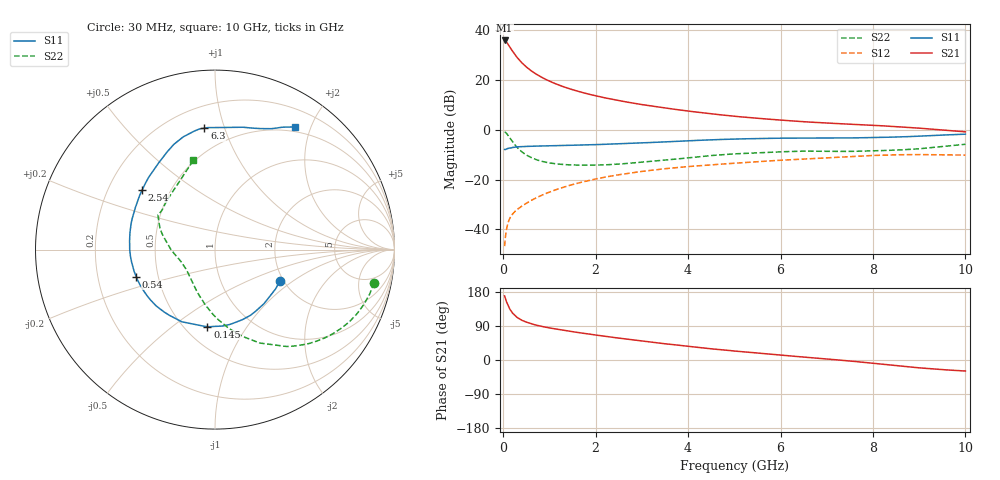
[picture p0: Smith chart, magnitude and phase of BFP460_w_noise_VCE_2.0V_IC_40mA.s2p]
! (c) 2016  Infineon Technologies AG, Munich
! Infineon Technologies  Discrete & RF Semiconductors
! BFP460
! VCE =  2.0 V,  IC =  40 mA
! Common Emitter S-Parameters:  Jan 2016
# GHz  S  MA  R  50
!  f  S11  S21  S12  S22
! GHz  MAG  ANG  MAG  ANG  MAG  ANG  MAG  ANG
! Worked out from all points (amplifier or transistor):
!   229 points, 30 MHz to 10 GHz, reference 50 ohm
!   highest |S21| = 35.9 dB at 30 MHz (marker M1)
!   |S21| within 3 dB of that: start of sweep to 155.7 MHz
!   unconditionally stable (mu >= 1): 1.244 GHz to 7.741 GHz
!   at 280 MHz: K = 0.60, MSG = 31.0 dB, |S12| = -32.4 dB
!   at 1.78 GHz: K = 1.03, MAG = 16.7 dB, |S12| = -20.7 dB
!   at 10 GHz: K = 0.98, MSG = 4.7 dB, |S12| = -10.2 dB
!   lowest NFmin = 1.63 dB at 3.5 GHz
!   S11 on the Smith chart (normalised r, x): 30 MHz: 1.92, -0.79; 145 MHz: 0.64, -0.67; 540 MHz: 0.37, -0.14; 2.54 GHz: 0.35, +0.32; 6.3 GHz: 0.34, +0.86; 10 GHz: 0.43, +1.76
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0.03  0.4017 -25.5  62.14 169.0  0.0046 83.7  0.9053 -11.8
0.05  0.4015 -40.5  59.96 160.8  0.0074 77.6  0.8838 -20.3
0.07  0.4106 -55.9  57.65 153.9  0.0099 74.5  0.8495 -28.3
0.09  0.4193 -68.8  54.5 147.7  0.012 70.1  0.8063 -35.6
0.12  0.4278 -84.6  49.58 139.6  0.0149 65.8  0.7387 -45.2
0.145  0.4308 -95.7  45.63 133.9  0.0168 63.1  0.683 -52.1
0.2  0.4426 -114.7  38.06 124.0  0.0202 59.5  0.5772 -64.4
0.26  0.4486 -129.0  31.76 116.5  0.0232 58.0  0.4898 -74.4
0.3  0.4537 -136.2  28.38 112.4  0.025 57.8  0.4436 -80.3
0.4  0.4588 -149.3  22.27 105.0  0.0292 58.4  0.3629 -91.5
0.54  0.4641 -161.1  17.09 98.4  0.0353 60.0  0.2974 -102.8
0.7  0.4695 -170.7  13.31 92.4  0.0423 61.4  0.2538 -113.4
1  0.4767 177.1  9.461 84.6  0.0561 62.6  0.2158 -127.2
1.3  0.4837 168.1  7.328 78.4  0.0701 62.2  0.201 -137.0
1.7  0.4938 158.1  5.642 71.1  0.0888 60.3  0.1945 -146.8
2.54  0.5253 140.5  3.797 57.2  0.1267 53.9  0.2059 -164.2
3.4  0.5654 126.0  2.822 44.5  0.1613 46.1  0.2413 -178.9
5.1  0.655 104.8  1.832 22.7  0.2161 32.5  0.3311 158.1
6.3  0.6793 95.0  1.495 9.8  0.2523 23.2  0.3677 149.5
6.8  0.6798 90.6  1.397 4.8  0.2668 19.7  0.3703 147.4
8.4  0.7109 72.0  1.171 -13.6  0.313 5.0  0.3876 131.7
10  0.8154 56.9  0.909 -29.1  0.3105 -7.7  0.5113 103.6
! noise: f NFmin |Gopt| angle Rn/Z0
0.45  1.67  0.27  -170  0.11
0.9  1.7  0.24  -162  0.13
1.9  1.79  0.34  -141  0.14
3.5  1.63  0.57  -118  0.22
